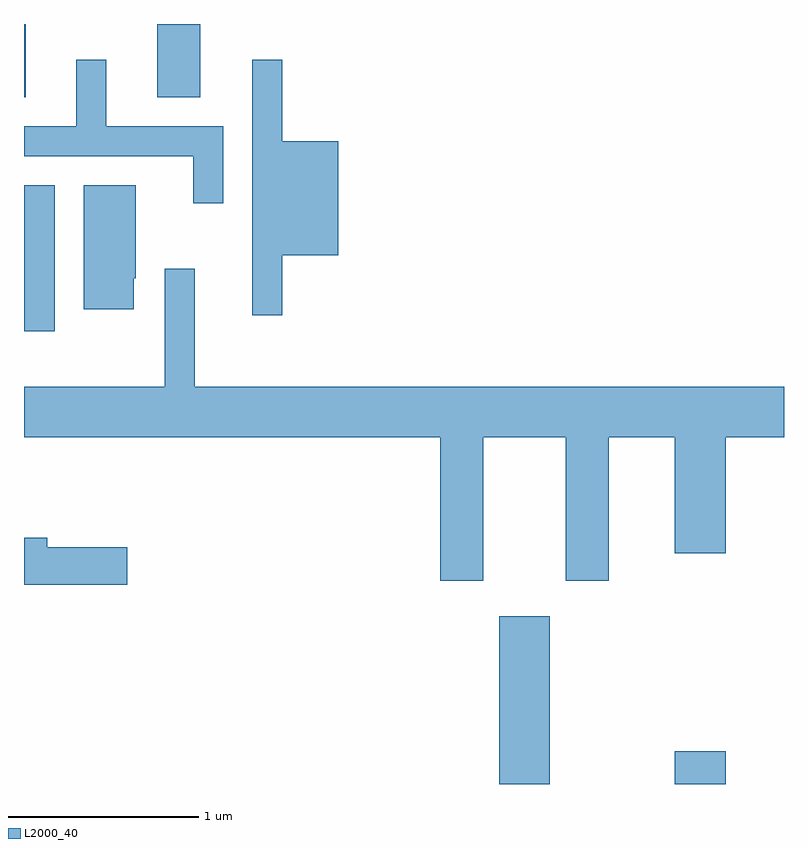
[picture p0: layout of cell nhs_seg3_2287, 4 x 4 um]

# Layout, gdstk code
import gdstk
lib = gdstk.Library(unit=1e-6, precision=1e-09)
def R(c, l, rs):  # rectangles x0, y0, x1, y1
    for r in rs: c.add(gdstk.rectangle(r[:2], r[2:], *l))
def P(c, l, *ps):  # polygons
    for p in ps: c.add(gdstk.Polygon(p, *l))
L2000_40 = (2000, 40)

nhs_seg3_2287 = lib.new_cell('nhs_seg3_2287')
R(nhs_seg3_2287, L2000_40, [(254.111,1201.892,254.379,1202.774), (255.036,1201.892,255.304,1202.064), (251.611,1204.276,251.774,1205.044), (251.611,1205.506,251.619,1205.892), (252.311,1205.506,252.539,1205.892)])
P(nhs_seg3_2287, L2000_40, [(252.659,1205.354),(252.044,1205.354),(252.044,1205.703),(251.886,1205.703),(251.886,1205.354),(251.611,1205.354),(251.611,1205.196),(252.501,1205.196),(252.501,1204.948),(252.659,1204.948)],
  [(252.969,1204.676),(253.264,1204.676),(253.264,1205.274),(252.969,1205.274),(252.969,1205.703),(252.811,1205.703),(252.811,1204.358),(252.969,1204.358)],
  [(252.189,1204.555),(252.199,1204.555),(252.199,1205.044),(251.926,1205.044),(251.926,1204.391),(252.189,1204.391)],
  [(252.509,1204.603),(252.351,1204.603),(252.351,1203.984),(251.611,1203.984),(251.611,1203.716),(253.801,1203.716),(253.801,1202.961),(254.029,1202.961),(254.029,1203.716),(254.461,1203.716),(254.461,1202.961),(254.689,1202.961),(254.689,1203.716),(255.036,1203.716),(255.036,1203.106),(255.304,1203.106),(255.304,1203.716),(255.611,1203.716),(255.611,1203.984),(252.509,1203.984)],
  [(252.154,1203.139),(251.734,1203.139),(251.734,1203.189),(251.611,1203.189),(251.611,1202.941),(252.154,1202.941)])

lib.write_gds('nhs_seg3_2287.gds')
